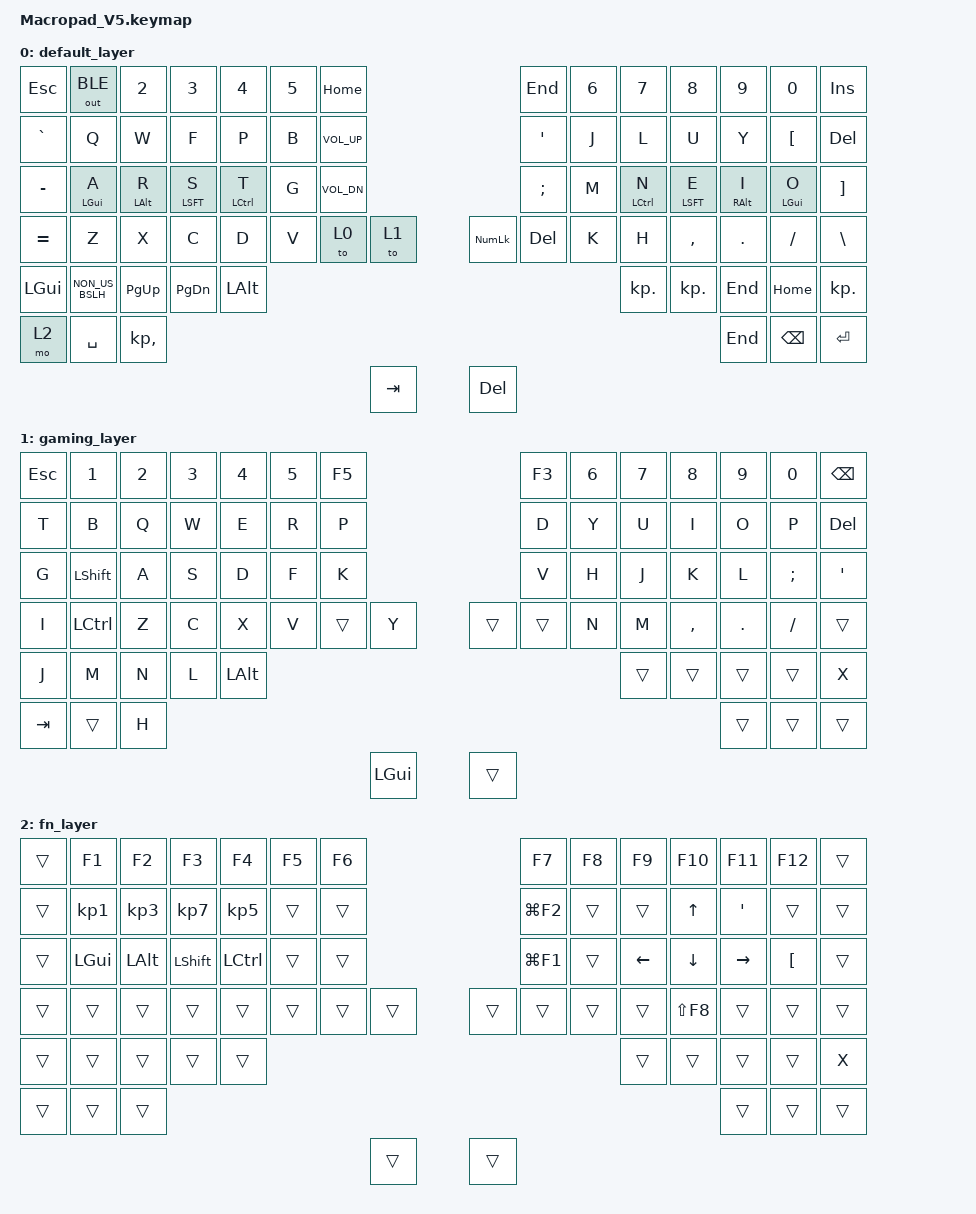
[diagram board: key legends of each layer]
#include <behaviors.dtsi>
#include <dt-bindings/zmk/keys.h>
#include <dt-bindings/zmk/bt.h>
#include <dt-bindings/zmk/outputs.h>

/ {
    keymap {
        compatible = "zmk,keymap";

        default_layer {
            // Row 0:  ESC  1    2    3    4    5    HOME                    END  6    7    8    9    0    INS
            // Row 1:  `    Q    W    F    P    B    VOLU                    '    J    L    U    Y    [    DEL
            // Row 2:  -    A    R    S    T    G    VOLD                    ;    M    N    E    I    O    ]
            // Row 3:  =    Z    X    C    D    V    TO0  TO1     NUM  DEL   K    H    ,    .    /    \
            // Row 4:  GUI  \|   PGUP PGDN LALT                             KP.  KP.  END  HOME KP.
            // Thumb:  MO2  SPC  K,                              END  BSPC  ENT
            // Bot:    TAB  DEL
            bindings = <
                &kp ESC  &out OUT_BLE &kp N2 &kp N3 &kp N4 &kp N5 &kp HOME                                           &kp END &kp N6  &kp N7 &kp N8 &kp N9  &kp N0  &kp INS
                &kp GRAVE &kp Q &kp W  &kp F  &kp P  &kp B  &kp C_VOL_UP                                       &kp SQT  &kp J  &kp L  &kp U  &kp Y   &kp LBKT &kp DEL
                &kp MINUS &mt LGUI A   &mt LALT R    &mt LSFT S &mt LCTRL T &kp G &kp C_VOL_DN                 &kp SEMI &kp M  &mt LCTRL N &mt LSFT E &mt RALT I &mt LGUI O &kp RBKT
                &kp EQUAL &kp Z &kp X  &kp C  &kp D  &kp V  &to 0 &to 1 &kp KP_NUM &kp DEL                     &kp K &kp H &kp COMMA &kp DOT &kp FSLH &kp BSLH
                &kp LGUI  &kp NON_US_BSLH &kp PG_UP  &kp PG_DN &kp LALT                                              &kp KP_DOT &kp KP_DOT &kp END &kp HOME &kp KP_DOT
                                                               &mo 2    &kp SPACE &kp KP_COMMA    &kp END  &kp BSPC  &kp ENTER
                                                                                  &kp TAB         &kp DEL
            >;
        };
        
        gaming_layer {
            bindings = <
                &kp ESC  &kp N1   &kp N2  &kp N3  &kp N4  &kp N5  &kp F5              &kp F3   &kp N6  &kp N7  &kp N8    &kp N9    &kp N0   &kp BSPC
                &kp T    &kp B    &kp Q   &kp W   &kp E   &kp R   &kp P               &kp D    &kp Y   &kp U   &kp I     &kp O     &kp P    &kp DEL
                &kp G    &kp LSHFT &kp A  &kp S   &kp D   &kp F   &kp K               &kp V    &kp H   &kp J   &kp K     &kp L     &kp SEMI &kp SQT
                &kp I    &kp LCTRL &kp Z  &kp C   &kp X   &kp V   &trans &kp Y        &trans &trans &kp N   &kp M     &kp COMMA &kp DOT  &kp FSLH &trans
                &kp J    &kp M    &kp N   &kp L   &kp LALT                            &trans  &trans  &trans    &trans    &kp X
                                                   &kp TAB  &trans  &kp H             &trans  &trans  &trans
                                                                    &kp LGUI          &trans
            >;
        };

        fn_layer {
            bindings = <
                &trans  &kp F1     &kp F2   &kp F3     &kp F4    &kp F5  &kp F6                    &kp F7      &kp F8  &kp F9  &kp F10    &kp F11   &kp F12     &trans
                &trans  &kp KP_N1  &kp KP_N3 &kp KP_N7 &kp KP_N5 &trans &trans                     &kp LG(F2)  &trans  &trans  &kp UP     &kp SQT   &trans      &trans
                &trans  &kp LGUI   &kp LALT  &kp LSHFT  &kp LCTRL &trans &trans                    &kp LG(F1)  &trans  &kp LEFT &kp DOWN  &kp RIGHT &kp LBKT    &trans
                &trans  &trans     &trans    &trans     &trans    &trans  &trans &trans     &trans &trans &trans   &trans     &kp LS(F8) &trans      &trans &trans
                                         &trans  &trans     &trans    &trans     &trans     &trans  &trans  &trans   &trans    &kp X
                                                                 &trans  &trans  &trans     &trans  &trans  &trans
                                                                                 &trans     &trans
            >;
        };
    };
};
